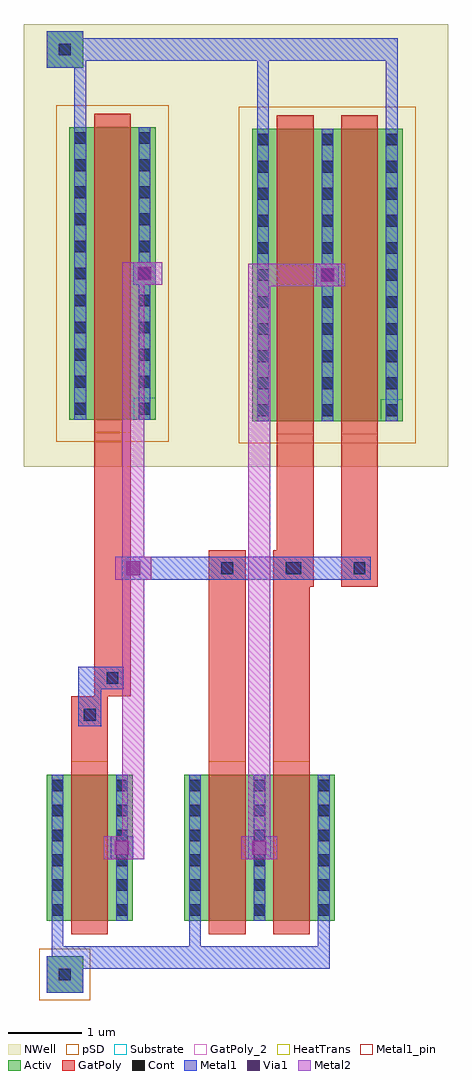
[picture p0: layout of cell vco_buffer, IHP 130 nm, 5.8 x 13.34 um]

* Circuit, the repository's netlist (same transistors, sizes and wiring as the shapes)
* VCO buffer module — LVS schematic (expanded for ng>1)
* From sim/_soilz_full.sp

.subckt vco_buffer vco5 buf1 vco_out gnd vdd
* INV1: MBn1 + MBp1 (ng=1)
MMBn1 buf1 vco5 gnd gnd sg13_lv_nmos w=2u l=0.5u ng=1 m=1
MMBp1 buf1 vco5 vdd vdd sg13_lv_pmos w=4u l=0.5u ng=1 m=1
* INV2: MBn2 (ng=2) + MBp2 (ng=2) — expanded
MMBn2_0 vco_out buf1 gnd gnd sg13_lv_nmos w=2u l=0.5u ng=1 m=1
MMBn2_1 gnd buf1 vco_out gnd sg13_lv_nmos w=2u l=0.5u ng=1 m=1
MMBp2_0 vco_out buf1 vdd vdd sg13_lv_pmos w=4u l=0.5u ng=1 m=1
MMBp2_1 vdd buf1 vco_out vdd sg13_lv_pmos w=4u l=0.5u ng=1 m=1
.ends vco_buffer

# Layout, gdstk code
import gdstk
lib = gdstk.Library(unit=1e-6, precision=1e-09)
def R(c, l, rs):  # rectangles x0, y0, x1, y1
    for r in rs: c.add(gdstk.rectangle(r[:2], r[2:], *l))
def A(c, l, x, y, w, h, nx, ny, dx, dy):  # array of equal rectangles
    R(c, l, [(x+i*dx, y+j*dy, x+i*dx+w, y+j*dy+h) for i in range(nx) for j in range(ny)])
Activ = (1, 0)
GatPoly = (5, 0)
GatPoly_2 = (5, 2)
Cont = (6, 0)
Metal1 = (8, 0)
Metal1_pin = (8, 2)
Metal2 = (10, 0)
pSD = (14, 0)
Via1 = (19, 0)
NWell = (31, 0)
Substrate = (40, 0)
HeatTrans = (51, 0)

nmos = lib.new_cell('nmos')
R(nmos, Activ, [(0,0,0.3,0.3), (0,0,1.18,2), (0.88,0,1.18,0.3)])
R(nmos, GatPoly, [(0.34,-0.18,0.84,2.18)])
R(nmos, GatPoly_2, [(0.34,-0.18,0.84,2.18)])
A(nmos, Cont, 0.07, 0.07, 0.16, 0.16, 1, 6, 0, 0.34)
A(nmos, Cont, 0.95, 0.07, 0.16, 0.16, 1, 6, 0, 0.34)
R(nmos, Metal1, [(0.07,0,0.23,2), (0.95,0,1.11,2)])
R(nmos, Metal1_pin, [(0.07,0,0.23,2), (0.95,0,1.11,2)])
R(nmos, HeatTrans, [(0.34,-0.18,0.84,2.18)])
nmos.add(gdstk.Label('nmos', (0.59,1), layer=63, texttype=0))
nmos.add(gdstk.Label('nmos', (0.59,1), layer=51, texttype=0))

nmos_1 = lib.new_cell('nmos$1')
A(nmos_1, Activ, 0, 0, 0.3, 0.3, 3, 1, 0.88, 0)
R(nmos_1, Activ, [(0,0,2.06,2)])
R(nmos_1, GatPoly, [(0.34,-0.18,0.84,2.18), (1.22,-0.18,1.72,2.18)])
R(nmos_1, GatPoly_2, [(0.34,-0.18,0.84,2.18)])
A(nmos_1, Cont, 0.07, 0.07, 0.16, 0.16, 3, 6, 0.88, 0.34)
A(nmos_1, Metal1, 0.07, 0, 0.16, 2, 3, 1, 0.88, 0)
R(nmos_1, Metal1_pin, [(0.07,0,0.23,2), (0.95,0,1.11,2)])
R(nmos_1, HeatTrans, [(0.34,-0.18,0.84,2.18), (1.22,-0.18,1.72,2.18)])
nmos_1.add(gdstk.Label('nmos', (0.59,1), layer=63, texttype=0))
nmos_1.add(gdstk.Label('nmos', (0.59,1), layer=51, texttype=0))
nmos_1.add(gdstk.Label('nmos', (1.47,1), layer=51, texttype=0))

pmos = lib.new_cell('pmos')
A(pmos, Activ, 0, 0, 0.3, 0.3, 3, 1, 0.88, 0)
R(pmos, Activ, [(0,0,2.06,4)])
R(pmos, GatPoly, [(0.34,-0.18,0.84,4.18), (0.34,-0.18,0.84,4.18), (1.22,-0.18,1.72,4.18)])
A(pmos, Cont, 0.07, 0.07, 0.16, 0.16, 3, 11, 0.88, 0.37)
R(pmos, Metal1, [(0.07,0,0.23,4), (0.07,0,0.23,4), (0.95,0,1.11,4), (0.95,0,1.11,4), (1.83,0,1.99,4)])
R(pmos, pSD, [(-0.18,-0.3,2.24,4.3)])
R(pmos, NWell, [(-0.31,-0.31,2.37,4.31)])
R(pmos, Substrate, [(1.76,0,2.06,0.3)])
R(pmos, HeatTrans, [(0.34,-0.18,0.84,4.18), (1.22,-0.18,1.72,4.18)])
pmos.add(gdstk.Label('pmos', (0.59,2), layer=63, texttype=0))
pmos.add(gdstk.Label('pmos', (0.59,2), layer=51, texttype=0))
pmos.add(gdstk.Label('pmos', (1.47,2), layer=51, texttype=0))

pmos_1 = lib.new_cell('pmos$1')
R(pmos_1, Activ, [(0,0,0.3,0.3), (0,0,1.18,4), (0.88,0,1.18,0.3)])
R(pmos_1, GatPoly, [(0.34,-0.18,0.84,4.18), (0.34,-0.18,0.84,4.18)])
A(pmos_1, Cont, 0.07, 0.07, 0.16, 0.16, 1, 11, 0, 0.37)
A(pmos_1, Cont, 0.95, 0.07, 0.16, 0.16, 1, 11, 0, 0.37)
R(pmos_1, Metal1, [(0.07,0,0.23,4), (0.07,0,0.23,4), (0.95,0,1.11,4), (0.95,0,1.11,4)])
R(pmos_1, pSD, [(-0.18,-0.3,1.36,4.3)])
R(pmos_1, NWell, [(-0.31,-0.31,1.49,4.31)])
R(pmos_1, Substrate, [(0.88,0,1.18,0.3)])
R(pmos_1, HeatTrans, [(0.34,-0.18,0.84,4.18)])
pmos_1.add(gdstk.Label('pmos', (0.59,2), layer=63, texttype=0))
pmos_1.add(gdstk.Label('pmos', (0.59,2), layer=51, texttype=0))

vco_buffer = lib.new_cell('vco_buffer')
R(vco_buffer, Activ, [(0,-0.8,0.5,-0.3), (0,11.84,0.5,12.34)])
R(vco_buffer, GatPoly, [(0.34,2.36,0.84,3.25), (2.22,2.36,2.72,5.25), (3.1,2.36,3.6,5.25), (0.65,3.25,1.15,6.85), (3.15,4.75,3.65,6.83), (4.03,4.75,4.53,6.83)])
R(vco_buffer, Cont, [(0.17,-0.63,0.33,-0.47), (0.51,2.92,0.67,3.08), (0.82,3.42,0.98,3.58), (2.39,4.92,2.55,5.08), (3.27,4.92,3.43,5.08), (3.32,4.92,3.48,5.08), (4.2,4.92,4.36,5.08), (0.17,12.01,0.33,12.17)])
R(vco_buffer, Metal1, [(0,-0.8,0.5,-0.3), (0.07,-0.475,3.87,-0.165), (0.07,-0.165,0.23,0.18), (1.95,-0.165,2.11,0.18), (3.71,-0.165,3.87,0.18), (0.875,1.025,1.185,1.335), (2.755,1.025,3.065,1.335), (0.435,2.845,0.745,3.155), (0.435,2.845,0.745,3.655), (0.435,3.345,1.055,3.655), (0.745,3.345,1.055,3.655), (1.03,4.845,1.34,5.155), (1.03,4.845,4.435,5.155), (2.315,4.845,2.625,5.155), (3.195,4.845,3.505,5.155), (3.245,4.845,3.555,5.155), (4.125,4.845,4.435,5.155), (3.685,8.855,3.995,9.165), (1.185,8.875,1.495,9.185), (2.88,11.01,3.04,11.935), (4.64,11.01,4.8,11.935), (0.38,11.03,0.54,11.935), (0,11.84,0.5,12.34), (0.38,11.935,4.8,12.245)])
R(vco_buffer, Metal2, [(0.785,1.025,1.275,1.335), (1.035,1.025,1.335,9.185), (2.665,1.025,3.155,1.335), (2.76,1.025,3.06,9.165), (0.94,4.845,1.43,5.155), (2.76,8.855,3.99,9.165), (3.595,8.855,4.085,9.165), (1.095,8.875,1.585,9.185)])
R(vco_buffer, pSD, [(-0.1,-0.9,0.6,-0.2)])
R(vco_buffer, Via1, [(0.935,1.085,1.125,1.275), (2.815,1.085,3.005,1.275), (1.09,4.905,1.28,5.095), (3.745,8.915,3.935,9.105), (1.245,8.935,1.435,9.125)])
R(vco_buffer, NWell, [(-0.31,6.39,5.49,12.44)])
vco_buffer.add(gdstk.Reference(nmos, (0,0.18)))
vco_buffer.add(gdstk.Reference(nmos_1, (1.88,0.18)))
vco_buffer.add(gdstk.Reference(pmos, (2.81,7.01)))
vco_buffer.add(gdstk.Reference(pmos_1, (0.31,7.03)))

lib.write_gds('vco_buffer.gds')
